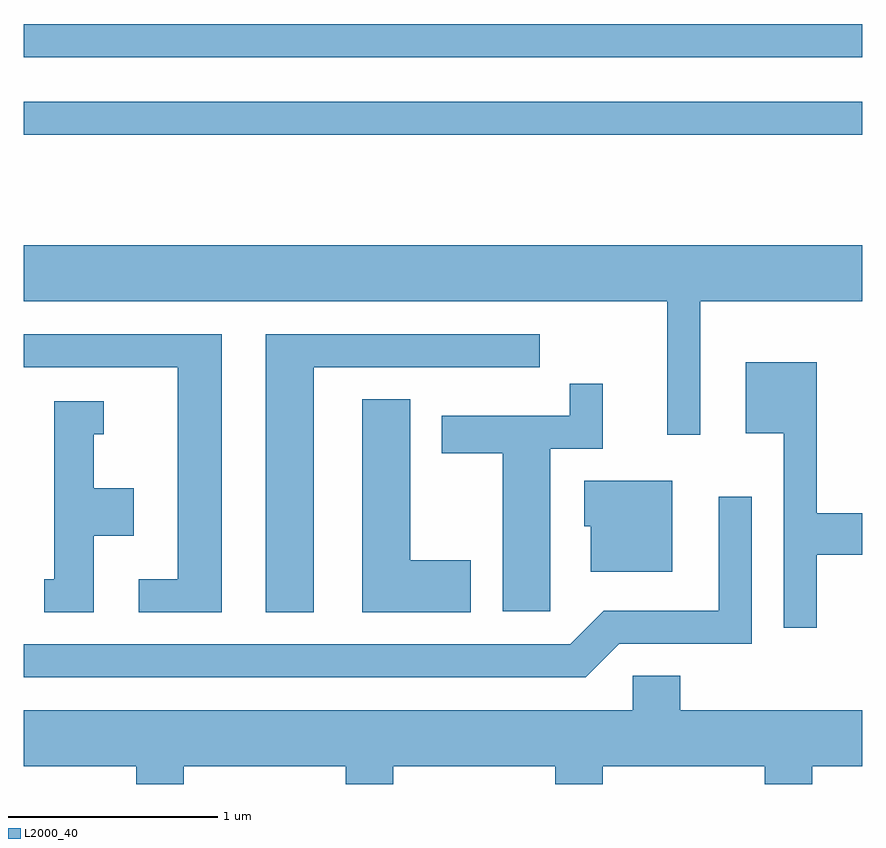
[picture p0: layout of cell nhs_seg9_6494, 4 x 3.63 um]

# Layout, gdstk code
import gdstk
lib = gdstk.Library(unit=1e-6, precision=1e-09)
def R(c, l, rs):  # rectangles x0, y0, x1, y1
    for r in rs: c.add(gdstk.rectangle(r[:2], r[2:], *l))
def P(c, l, *ps):  # polygons
    for p in ps: c.add(gdstk.Polygon(p, *l))
L2000_40 = (2000, 40)

nhs_seg9_6494 = lib.new_cell('nhs_seg9_6494')
R(nhs_seg9_6494, L2000_40, [(377.611,1961.531,381.611,1961.689), (377.611,1961.901,381.611,1962.059)])
P(nhs_seg9_6494, L2000_40, [(380.839,1960.736),(381.611,1960.736),(381.611,1961.004),(377.611,1961.004),(377.611,1960.736),(380.681,1960.736),(380.681,1960.098),(380.839,1960.098)],
  [(378.994,1960.421),(380.073,1960.421),(380.073,1960.579),(378.766,1960.579),(378.766,1959.251),(378.994,1959.251)],
  [(378.554,1960.579),(377.611,1960.579),(377.611,1960.421),(378.346,1960.421),(378.346,1959.409),(378.158,1959.409),(378.158,1959.251),(378.554,1959.251)],
  [(381.394,1959.526),(381.611,1959.526),(381.611,1959.724),(381.394,1959.724),(381.394,1960.444),(381.056,1960.444),(381.056,1960.106),(381.236,1960.106),(381.236,1959.178),(381.394,1959.178)],
  [(380.124,1960.031),(380.374,1960.031),(380.374,1960.343),(380.216,1960.343),(380.216,1960.189),(379.606,1960.189),(379.606,1960.011),(379.896,1960.011),(379.896,1959.256),(380.124,1959.256)],
  [(379.744,1959.499),(379.454,1959.499),(379.454,1960.269),(379.226,1960.269),(379.226,1959.251),(379.744,1959.251)],
  [(377.944,1959.616),(378.134,1959.616),(378.134,1959.844),(377.944,1959.844),(377.944,1960.101),(377.993,1960.101),(377.993,1960.259),(377.756,1960.259),(377.756,1959.409),(377.708,1959.409),(377.708,1959.251),(377.944,1959.251)],
  [(380.704,1959.879),(380.286,1959.879),(380.286,1959.661),(380.316,1959.661),(380.316,1959.446),(380.704,1959.446)],
  [(380.452,1959.101),(381.084,1959.101),(381.084,1959.803),(380.926,1959.803),(380.926,1959.259),(380.379,1959.259),(380.219,1959.099),(377.611,1959.099),(377.611,1958.941),(380.292,1958.941)],
  [(378.374,1958.516),(379.146,1958.516),(379.146,1958.432),(379.374,1958.432),(379.374,1958.516),(380.146,1958.516),(380.146,1958.432),(380.374,1958.432),(380.374,1958.516),(381.146,1958.516),(381.146,1958.432),(381.374,1958.432),(381.374,1958.516),(381.611,1958.516),(381.611,1958.784),(380.744,1958.784),(380.744,1958.949),(380.516,1958.949),(380.516,1958.784),(377.611,1958.784),(377.611,1958.516),(378.146,1958.516),(378.146,1958.432),(378.374,1958.432)])

lib.write_gds('nhs_seg9_6494.gds')
